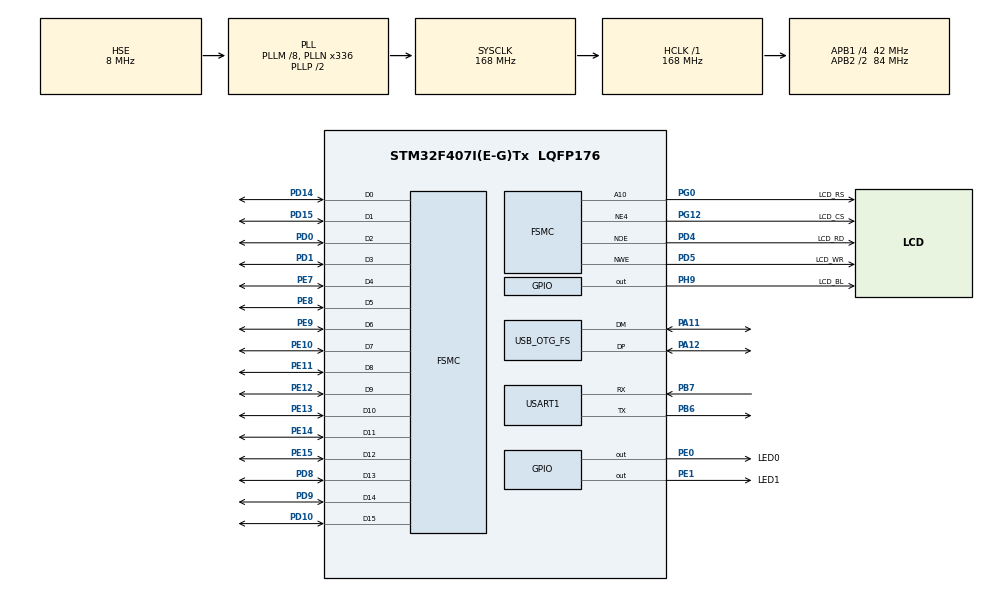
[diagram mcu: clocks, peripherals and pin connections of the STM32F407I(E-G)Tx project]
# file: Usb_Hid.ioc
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FSMC.AddressSetupTime1=0xf
FSMC.DataSetupTime1=60
FSMC.ExtendedAddressSetupTime1=9
FSMC.ExtendedDataSetupTime1=9
FSMC.ExtendedMode1=FSMC_EXTENDED_MODE_ENABLE
Mcu.Family=STM32F4
Mcu.Name=STM32F407I(E-G)Tx
Mcu.Package=LQFP176
NVIC.OTG_FS_IRQn=true\:1\:0\:true\:false\:true\:true
NVIC.PriorityGroup=NVIC_PRIORITYGROUP_2
PA11.Mode=Host_Only
PA11.Signal=USB_OTG_FS_DM
PA12.Mode=Host_Only
PA12.Signal=USB_OTG_FS_DP
PA13.Mode=Serial_Wire
PA13.Signal=SYS_JTMS-SWDIO
PA14.Mode=Serial_Wire
PA14.Signal=SYS_JTCK-SWCLK
PB6.Mode=Asynchronous
PB6.Signal=USART1_TX
PB7.Mode=Asynchronous
PB7.Signal=USART1_RX
PD0.Signal=FSMC_D2_DA2
PD1.Signal=FSMC_D3_DA3
PD10.Signal=FSMC_D15_DA15
PD14.Signal=FSMC_D0_DA0
PD15.Signal=FSMC_D1_DA1
PD4.GPIO_Label=LCD_RD
PD4.GPIO_PuPd=GPIO_PULLUP
PD4.Signal=FSMC_NOE
PD5.GPIO_Label=LCD_WR
PD5.GPIO_PuPd=GPIO_PULLUP
PD5.Signal=FSMC_NWE
PD8.Signal=FSMC_D13_DA13
PD9.Signal=FSMC_D14_DA14
PE0.GPIO_Label=LED0
PE0.GPIO_Speed=GPIO_SPEED_FREQ_HIGH
PE0.PinState=GPIO_PIN_SET
PE0.Signal=GPIO_Output
PE1.GPIO_Label=LED1
PE1.GPIO_Speed=GPIO_SPEED_FREQ_HIGH
PE1.PinState=GPIO_PIN_SET
PE1.Signal=GPIO_Output
PE10.Signal=FSMC_D7_DA7
PE11.Signal=FSMC_D8_DA8
PE12.Signal=FSMC_D9_DA9
PE13.Signal=FSMC_D10_DA10
PE14.Signal=FSMC_D11_DA11
PE15.Signal=FSMC_D12_DA12
PE7.Signal=FSMC_D4_DA4
PE8.Signal=FSMC_D5_DA5
PE9.Signal=FSMC_D6_DA6
PG0.GPIO_Label=LCD_RS
PG0.GPIO_PuPd=GPIO_PULLUP
PG0.Signal=FSMC_A10
PG12.GPIO_Label=LCD_CS
PG12.GPIO_PuPd=GPIO_PULLUP
PG12.Mode=NorPsramChipSelect4_1
PG12.Signal=FSMC_NE4
PH0-OSC_IN.Mode=HSE-External-Oscillator
PH0-OSC_IN.Signal=RCC_OSC_IN
PH1-OSC_OUT.Mode=HSE-External-Oscillator
PH1-OSC_OUT.Signal=RCC_OSC_OUT
PH9.GPIO_Label=LCD_BL
PH9.GPIO_Speed=GPIO_SPEED_FREQ_HIGH
PH9.PinState=GPIO_PIN_SET
PH9.Signal=GPIO_Output
ProjectManager.HeapSize=0x200
ProjectManager.StackSize=0x400
ProjectManager.TargetToolchain=MDK-ARM V5
RCC.48MHZClocksFreq_Value=48000000
RCC.AHBFreq_Value=168000000
RCC.APB1CLKDivider=RCC_HCLK_DIV4
RCC.APB1Freq_Value=42000000
RCC.APB1TimFreq_Value=84000000
RCC.APB2CLKDivider=RCC_HCLK_DIV2
RCC.APB2Freq_Value=84000000
RCC.APB2TimFreq_Value=168000000
RCC.CortexFreq_Value=168000000
RCC.HCLKFreq_Value=168000000
RCC.HSE_VALUE=8000000
RCC.HSI_VALUE=16000000
RCC.LSE_VALUE=32768
RCC.PLLM=8
RCC.PLLN=336
RCC.PLLQ=7
RCC.SYSCLKFreq_VALUE=168000000
RCC.SYSCLKSource=RCC_SYSCLKSOURCE_PLLCLK
RCC.VCOOutputFreq_Value=336000000
SH.FSMC_A10.0=FSMC_A10,A10_1
SH.FSMC_D0_DA0.0=FSMC_D0,16b-d1
SH.FSMC_D10_DA10.0=FSMC_D10,16b-d1
SH.FSMC_D11_DA11.0=FSMC_D11,16b-d1
SH.FSMC_D12_DA12.0=FSMC_D12,16b-d1
SH.FSMC_D13_DA13.0=FSMC_D13,16b-d1
SH.FSMC_D14_DA14.0=FSMC_D14,16b-d1
SH.FSMC_D15_DA15.0=FSMC_D15,16b-d1
SH.FSMC_D1_DA1.0=FSMC_D1,16b-d1
SH.FSMC_D2_DA2.0=FSMC_D2,16b-d1
SH.FSMC_D3_DA3.0=FSMC_D3,16b-d1
SH.FSMC_D4_DA4.0=FSMC_D4,16b-d1
SH.FSMC_D5_DA5.0=FSMC_D5,16b-d1
SH.FSMC_D6_DA6.0=FSMC_D6,16b-d1
SH.FSMC_D7_DA7.0=FSMC_D7,16b-d1
SH.FSMC_D8_DA8.0=FSMC_D8,16b-d1
SH.FSMC_D9_DA9.0=FSMC_D9,16b-d1
SH.FSMC_NOE.0=FSMC_NOE,Lcd1
SH.FSMC_NWE.0=FSMC_NWE,Lcd1
USART1.VirtualMode=VM_ASYNC
USB_HOST.USBH_HandleTypeDef-HID_FS=hUsbHostFS
USB_HOST.VirtualModeFS=Hid
USB_OTG_FS.VirtualMode=Host_Only
USB_OTG_FS.phy_itface=HCD_PHY_EMBEDDED
VP_USB_HOST_VS_USB_HOST_HID_FS.Mode=HID_FS
board=Usb_Hid

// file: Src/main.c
/**
  ******************************************************************************
  * @file           : main.c
  * @brief          : Main program body
  ******************************************************************************
  * This notice applies to any and all portions of this file
  * that are not between comment pairs USER CODE BEGIN and
  * USER CODE END. Other portions of this file, whether
  * inserted by the user or by software development tools
  * are owned by their respective copyright owners.
  *
  * Copyright (c) 2024 STMicroelectronics International N.V.
  * All rights reserved.
  *
  * Redistribution and use in source and binary forms, with or without
  * modification, are permitted, provided that the following conditions are met:
  *
  * 1. Redistribution of source code must retain the above copyright notice,
  *    this list of conditions and the following disclaimer.
  * 2. Redistributions in binary form must reproduce the above copyright notice,
  *    this list of conditions and the following disclaimer in the documentation
  *    and/or other materials provided with the distribution.
  * 3. Neither the name of STMicroelectronics nor the names of other
  *    contributors to this software may be used to endorse or promote products
  *    derived from this software without specific written permission.
  * 4. This software, including modifications and/or derivative works of this
  *    software, must execute solely and exclusively on microcontroller or
  *    microprocessor devices manufactured by or for STMicroelectronics.
  * 5. Redistribution and use of this software other than as permitted under
  *    this license is void and will automatically terminate your rights under
  *    this license.
  *
  * THIS SOFTWARE IS PROVIDED BY STMICROELECTRONICS AND CONTRIBUTORS "AS IS"
  * AND ANY EXPRESS, IMPLIED OR STATUTORY WARRANTIES, INCLUDING, BUT NOT
  * LIMITED TO, THE IMPLIED WARRANTIES OF MERCHANTABILITY, FITNESS FOR A
  * PARTICULAR PURPOSE AND NON-INFRINGEMENT OF THIRD PARTY INTELLECTUAL PROPERTY
  * RIGHTS ARE DISCLAIMED TO THE FULLEST EXTENT PERMITTED BY LAW. IN NO EVENT
  * SHALL STMICROELECTRONICS OR CONTRIBUTORS BE LIABLE FOR ANY DIRECT, INDIRECT,
  * INCIDENTAL, SPECIAL, EXEMPLARY, OR CONSEQUENTIAL DAMAGES (INCLUDING, BUT NOT
  * LIMITED TO, PROCUREMENT OF SUBSTITUTE GOODS OR SERVICES; LOSS OF USE, DATA,
  * OR PROFITS; OR BUSINESS INTERRUPTION) HOWEVER CAUSED AND ON ANY THEORY OF
  * LIABILITY, WHETHER IN CONTRACT, STRICT LIABILITY, OR TORT (INCLUDING
  * NEGLIGENCE OR OTHERWISE) ARISING IN ANY WAY OUT OF THE USE OF THIS SOFTWARE,
  * EVEN IF ADVISED OF THE POSSIBILITY OF SUCH DAMAGE.
  *
  ******************************************************************************
  */
#include "main.h"
#include "stm32f4xx_hal.h"
#include "usart.h"
#include "usb_host.h"
#include "gpio.h"
#include "fsmc.h"

/* USER CODE BEGIN Includes */
#include "lcd.h"
#include "delay.h"

#include "malloc.h"

#include "usbh_core.h"
//#include "usbh_process.h"
/* USER CODE END Includes */

/* USER CODE BEGIN PV */
/* Private variables ---------------------------------------------------------*/
//lcd
uint8_t lcd_id[12];
uint16_t colors[12] = {WHITE, BLACK, BLUE, RED, MAGENTA, GREEN, CYAN, YELLOW, BRRED, GRAY, LGRAY, BROWN};
uint8_t color_index = 0;
/* USER CODE END PV */

void SystemClock_Config(void);
void MX_USB_HOST_Process(void);

/* USER CODE BEGIN PFP */
/* Private function prototypes -----------------------------------------------*/

/* USER CODE END PFP */

int main(void)
{

  /* MCU Configuration----------------------------------------------------------*/

  /* Reset of all peripherals, Initializes the Flash interface and the Systick. */
  HAL_Init();

  /* Configure the system clock */
  SystemClock_Config();

  /* Initialize all configured peripherals */
  MX_GPIO_Init();
  MX_USART1_UART_Init();
  MX_FSMC_Init();
  MX_USB_HOST_Init();  //完成了：USBH_Init、USBH_RegisterClass、USBH_Start
  /* USER CODE BEGIN 2 */
	delay_init(168);                    // 延时初始化
	lcd_init();                             // 初始化LCD
  sprintf((char *)lcd_id, "LCD ID:%04X", lcddev.id);  // 将LCD ID打印到lcd_id数组

  //my_mem_init(SRAMIN);                /* 初始化内部SRAM内存池 */
  //my_mem_init(SRAMCCM);               /* 初始化内部SRAMCCM内存池 */

	lcd_show_string(30, 50, 200, 16, 16, "STM32", RED);
	lcd_show_string(30, 70, 200, 16, 16, "USB MOUSE/KEYBOARD TEST", RED);
	lcd_show_string(30, 90, 200, 16, 16, "ATOM@ALIENTEK", RED);
	lcd_show_string(30, 110, 200, 16, 16, "USB Connecting...", RED);

	//USBH_Init(&g_hUSBHost, USBH_UserProcess, 1);
	//USBH_RegisterClass(&g_hUSBHost, USBH_HID_CLASS);
	//USBH_Start(&g_hUSBHost);
  /* USER CODE END 2 */

  /* Infinite loop */
  /* USER CODE BEGIN WHILE */
  while (1)
  {
		//lcd test
		/*
		lcd_clear(colors[color_index]);  //清屏

		lcd_show_string(10, 40, 240, 32, 32, "STM32", RED);
		lcd_show_string(10, 80, 240, 24, 24, "TFTLCD TEST", RED);
		lcd_show_string(10, 110, 240, 16, 16, "ATOM@ALIENTEK", RED);
		lcd_show_string(10, 130, 240, 16, 16, (char *)lcd_id, RED); // 显示LCD ID
		color_index++;

		if (color_index == 12){
				color_index = 0;
		}
		HAL_GPIO_TogglePin(LED0_GPIO_Port, LED0_Pin); // LED0闪烁
		HAL_Delay(1000);
		*/
		USBH_Process(&hUsbHostFS);
		usb_demo(&hUsbHostFS);
		if(usbh_check_enume_dead(&hUsbHostFS))    /* 检测USB HOST 枚举是否死机了?死机了,则重新初始化 */
		{
				printf("Error! USB HID reconnect!\r\n");
				usbh_hid_reconnect();       /* 重连 */
		}

  /* USER CODE END WHILE */
    MX_USB_HOST_Process();

  }

}

void SystemClock_Config(void)
{

  RCC_OscInitTypeDef RCC_OscInitStruct;
  RCC_ClkInitTypeDef RCC_ClkInitStruct;

    /**Configure the main internal regulator output voltage
    */
  __HAL_RCC_PWR_CLK_ENABLE();

  __HAL_PWR_VOLTAGESCALING_CONFIG(PWR_REGULATOR_VOLTAGE_SCALE1);

    /**Initializes the CPU, AHB and APB busses clocks
    */
  RCC_OscInitStruct.OscillatorType = RCC_OSCILLATORTYPE_HSE;
  RCC_OscInitStruct.HSEState = RCC_HSE_ON;
  RCC_OscInitStruct.PLL.PLLState = RCC_PLL_ON;
  RCC_OscInitStruct.PLL.PLLSource = RCC_PLLSOURCE_HSE;
  RCC_OscInitStruct.PLL.PLLM = 8;
  RCC_OscInitStruct.PLL.PLLN = 336;
  RCC_OscInitStruct.PLL.PLLP = RCC_PLLP_DIV2;
  RCC_OscInitStruct.PLL.PLLQ = 7;
  if (HAL_RCC_OscConfig(&RCC_OscInitStruct) != HAL_OK)
  {
    _Error_Handler(__FILE__, __LINE__);
  }

    /**Initializes the CPU, AHB and APB busses clocks
    */
  RCC_ClkInitStruct.ClockType = RCC_CLOCKTYPE_HCLK|RCC_CLOCKTYPE_SYSCLK
                              |RCC_CLOCKTYPE_PCLK1|RCC_CLOCKTYPE_PCLK2;
  RCC_ClkInitStruct.SYSCLKSource = RCC_SYSCLKSOURCE_PLLCLK;
  RCC_ClkInitStruct.AHBCLKDivider = RCC_SYSCLK_DIV1;
  RCC_ClkInitStruct.APB1CLKDivider = RCC_HCLK_DIV4;
  RCC_ClkInitStruct.APB2CLKDivider = RCC_HCLK_DIV2;

  if (HAL_RCC_ClockConfig(&RCC_ClkInitStruct, FLASH_LATENCY_5) != HAL_OK)
  {
    _Error_Handler(__FILE__, __LINE__);
  }

    /**Configure the Systick interrupt time
    */
  HAL_SYSTICK_Config(HAL_RCC_GetHCLKFreq()/1000);

    /**Configure the Systick
    */
  HAL_SYSTICK_CLKSourceConfig(SYSTICK_CLKSOURCE_HCLK);

  /* SysTick_IRQn interrupt configuration */
  HAL_NVIC_SetPriority(SysTick_IRQn, 0, 0);
}

void _Error_Handler(char *file, int line)
{
  while(1)
  {
  }
}

/************************ (C) COPYRIGHT STMicroelectronics *****END OF FILE****/
